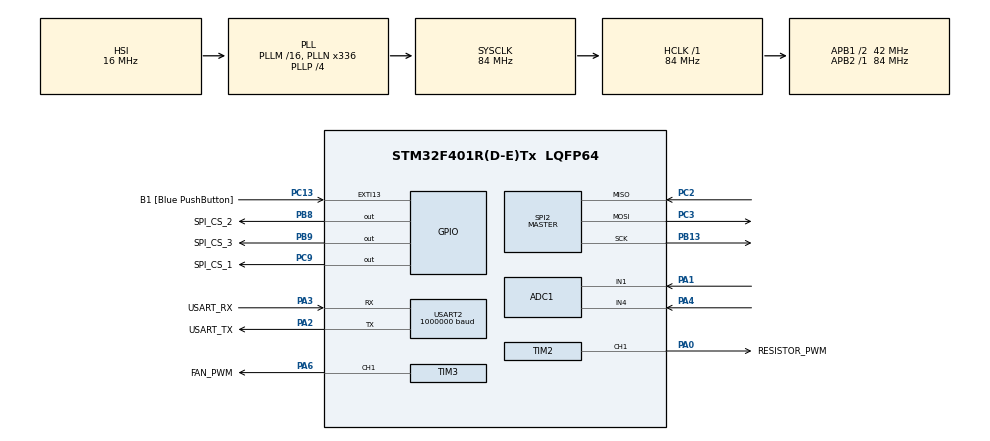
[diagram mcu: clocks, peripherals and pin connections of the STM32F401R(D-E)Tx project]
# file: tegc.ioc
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ADC1.Channel-1\#ChannelRegularConversion=ADC_CHANNEL_1
ADC1.Channel-3\#ChannelRegularConversion=ADC_CHANNEL_4
ADC1.ClockPrescaler=ADC_CLOCK_SYNC_PCLK_DIV4
ADC1.NbrOfConversion=2
ADC1.NbrOfConversionFlag=1
ADC1.Rank-3\#ChannelRegularConversion=2
ADC1.SamplingTime-1\#ChannelRegularConversion=ADC_SAMPLETIME_480CYCLES
ADC1.SamplingTime-3\#ChannelRegularConversion=ADC_SAMPLETIME_480CYCLES
ADC1.master=1
Dma.ADC1.1.Direction=DMA_PERIPH_TO_MEMORY
Dma.ADC1.1.FIFOMode=DMA_FIFOMODE_DISABLE
Dma.ADC1.1.Instance=DMA2_Stream0
Dma.ADC1.1.MemDataAlignment=DMA_MDATAALIGN_WORD
Dma.ADC1.1.MemInc=DMA_MINC_ENABLE
Dma.ADC1.1.Mode=DMA_NORMAL
Dma.ADC1.1.PeriphDataAlignment=DMA_PDATAALIGN_WORD
Dma.ADC1.1.PeriphInc=DMA_PINC_DISABLE
Dma.ADC1.1.Priority=DMA_PRIORITY_LOW
Dma.Request0=USART2_RX
Dma.Request1=ADC1
Dma.USART2_RX.0.Direction=DMA_PERIPH_TO_MEMORY
Dma.USART2_RX.0.FIFOMode=DMA_FIFOMODE_DISABLE
Dma.USART2_RX.0.Instance=DMA1_Stream5
Dma.USART2_RX.0.MemDataAlignment=DMA_MDATAALIGN_BYTE
Dma.USART2_RX.0.MemInc=DMA_MINC_ENABLE
Dma.USART2_RX.0.Mode=DMA_NORMAL
Dma.USART2_RX.0.PeriphDataAlignment=DMA_PDATAALIGN_BYTE
Dma.USART2_RX.0.PeriphInc=DMA_PINC_DISABLE
Dma.USART2_RX.0.Priority=DMA_PRIORITY_LOW
Mcu.Family=STM32F4
Mcu.Name=STM32F401R(D-E)Tx
Mcu.Package=LQFP64
NVIC.ADC_IRQn=true\:0\:0\:false\:false\:true\:true\:true\:true
NVIC.DMA1_Stream5_IRQn=true\:0\:0\:false\:true\:true\:3\:false\:true\:true
NVIC.DMA2_Stream0_IRQn=true\:0\:0\:false\:false\:true\:false\:true\:true
NVIC.PriorityGroup=NVIC_PRIORITYGROUP_0
NVIC.TIM1_UP_TIM10_IRQn=true\:0\:0\:false\:false\:true\:false\:true\:true
NVIC.TIM3_IRQn=true\:0\:0\:false\:true\:true\:1\:true\:true\:true
NVIC.TimeBase=TIM1_UP_TIM10_IRQn
NVIC.TimeBaseIP=TIM1
NVIC.USART2_IRQn=true\:0\:0\:false\:true\:true\:2\:true\:true\:true
PA0-WKUP.GPIO_Label=RESISTOR_PWM
PA0-WKUP.Signal=S_TIM2_CH1_ETR
PA1.GPIO_Mode=GPIO_MODE_ANALOG
PA1.GPIO_PuPd=GPIO_NOPULL
PA1.Signal=ADCx_IN1
PA13.GPIO_Label=TMS
PA13.Mode=Serial_Wire
PA13.Signal=SYS_JTMS-SWDIO
PA14.GPIO_Label=TCK
PA14.Mode=Serial_Wire
PA14.Signal=SYS_JTCK-SWCLK
PA2.GPIO_Label=USART_TX
PA2.GPIO_Mode=GPIO_MODE_AF_PP
PA2.GPIO_PuPd=GPIO_NOPULL
PA2.GPIO_Speed=GPIO_SPEED_FREQ_LOW
PA2.Mode=Asynchronous
PA2.Signal=USART2_TX
PA3.GPIO_Label=USART_RX
PA3.GPIO_Mode=GPIO_MODE_AF_PP
PA3.GPIO_PuPd=GPIO_NOPULL
PA3.GPIO_Speed=GPIO_SPEED_FREQ_LOW
PA3.Mode=Asynchronous
PA3.Signal=USART2_RX
PA4.Signal=ADCx_IN4
PA6.GPIO_Label=FAN_PWM
PA6.Signal=S_TIM3_CH1
PB13.Mode=Full_Duplex_Master
PB13.Signal=SPI2_SCK
PB3.GPIO_Label=SWO
PB3.Signal=SYS_JTDO-SWO
PB8.GPIO_Label=SPI_CS_2
PB8.Signal=GPIO_Output
PB9.GPIO_Label=SPI_CS_3
PB9.Signal=GPIO_Output
PC13-ANTI_TAMP.GPIO_Label=B1 [Blue PushButton]
PC13-ANTI_TAMP.GPIO_ModeDefaultEXTI=GPIO_MODE_IT_FALLING
PC13-ANTI_TAMP.GPIO_PuPd=GPIO_NOPULL
PC13-ANTI_TAMP.Signal=GPXTI13
PC14-OSC32_IN.Mode=LSE-External-Oscillator
PC14-OSC32_IN.Signal=RCC_OSC32_IN
PC15-OSC32_OUT.Mode=LSE-External-Oscillator
PC15-OSC32_OUT.Signal=RCC_OSC32_OUT
PC2.Mode=Full_Duplex_Master
PC2.Signal=SPI2_MISO
PC3.Mode=Full_Duplex_Master
PC3.Signal=SPI2_MOSI
PC9.GPIO_Label=SPI_CS_1
PC9.Signal=GPIO_Output
PH0\ -\ OSC_IN.Mode=HSE-External-Clock-Source
PH0\ -\ OSC_IN.Signal=RCC_OSC_IN
PH1\ -\ OSC_OUT.Mode=HSE-External-Clock-Source
PH1\ -\ OSC_OUT.Signal=RCC_OSC_OUT
ProjectManager.HeapSize=0x200
ProjectManager.StackSize=0x400
ProjectManager.TargetToolchain=Makefile
RCC.48MHZClocksFreq_Value=48000000
RCC.AHBFreq_Value=84000000
RCC.APB1CLKDivider=RCC_HCLK_DIV2
RCC.APB1Freq_Value=42000000
RCC.APB1TimFreq_Value=84000000
RCC.APB2Freq_Value=84000000
RCC.APB2TimFreq_Value=84000000
RCC.CortexFreq_Value=84000000
RCC.HCLKFreq_Value=84000000
RCC.HSE_VALUE=8000000
RCC.HSI_VALUE=16000000
RCC.PLLN=336
RCC.PLLP=RCC_PLLP_DIV4
RCC.PLLQ=7
RCC.SYSCLKFreq_VALUE=84000000
RCC.SYSCLKSource=RCC_SYSCLKSOURCE_PLLCLK
RCC.VCOOutputFreq_Value=336000000
SH.ADCx_IN1.0=ADC1_IN1,IN1
SH.ADCx_IN4.0=ADC1_IN4,IN4
SH.S_TIM2_CH1_ETR.0=TIM2_CH1,PWM Generation1 CH1
SH.S_TIM3_CH1.0=TIM3_CH1,PWM Generation1 CH1
SPI2.BaudRatePrescaler=SPI_BAUDRATEPRESCALER_128
SPI2.CLKPhase=SPI_PHASE_2EDGE
SPI2.CLKPolarity=SPI_POLARITY_LOW
SPI2.DataSize=SPI_DATASIZE_8BIT
SPI2.Direction=SPI_DIRECTION_2LINES
SPI2.Mode=SPI_MODE_MASTER
SPI2.VirtualType=VM_MASTER
TIM2.Channel-PWM\ Generation1\ CH1=TIM_CHANNEL_1
TIM2.Period=8400000
TIM3.Channel-PWM\ Generation1\ CH1=TIM_CHANNEL_1
TIM3.Period=98
TIM3.Prescaler=34
USART2.BaudRate=1000000
USART2.VirtualMode=VM_ASYNC
VP_SYS_VS_tim1.Mode=TIM1
VP_TIM2_VS_ClockSourceINT.Mode=Internal
VP_TIM3_VS_ClockSourceINT.Mode=Internal
board=NUCLEO-F401RE

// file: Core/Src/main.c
/* USER CODE BEGIN Header */
/**
 ******************************************************************************
 * @file           : main.c
 * @brief          : Main program body
 ******************************************************************************
 * @attention
 *
 * Copyright (c) 2024 STMicroelectronics.
 * All rights reserved.
 *
 * This software is licensed under terms that can be found in the LICENSE file
 * in the root directory of this software component.
 * If no LICENSE file comes with this software, it is provided AS-IS.
 *
 ******************************************************************************
 */
/* USER CODE END Header */
#include "main.h"
#include "adc.h"
#include "dma.h"
#include "spi.h"
#include "tim.h"
#include "usart.h"
#include "gpio.h"

/* USER CODE BEGIN Includes */

#include <inttypes.h>
#include <stdbool.h>
#include <stdio.h>
#include <string.h>

#include "pwm.h"
#include "tegc_config.h"
#include "temperature_controller.h"

/* USER CODE END Includes */

/* USER CODE BEGIN PV */

const char error_msg[] = "I am in error handler\r\n";

/***
 * Current temperatures of both TEG sides
 */
float temp_hot_side;
float temp_cold_side;

/***
 * Temperature controllers for the 2 sides of the TEG,
 * the hot side with the heating resistor,
 * the cold side using the fan
 */
temperature_controller_t tc_hot_side;
temperature_controller_t tc_cold_side;

/***
 * IMPORTANT!!! MAKE SURE TO SELECT THE APPROPRIATE VALUE IN THE MICROCURRENT MODULE.
 */
#define U_CURRENT_CONVERSION (1e-3 / 1e-6)  // 1mV / 1uA

/***
 * The buffer size is 2 because one value is for the open circuit voltage
 * and the other one for the current measurement
 */
#define TEG_ADC_DMA_BUFFER_SIZE (2)
bool teg_adc_dma_complete = false;
uint32_t teg_adc_value[TEG_ADC_DMA_BUFFER_SIZE] = {0};
float teg_adc_voltage[TEG_ADC_DMA_BUFFER_SIZE] = {0};
float teg_open_circuit_voltage = 0.0f;
float teg_load_current = 0.0f;

/***
 * Coefficient for the weighted average, used to filter out spikes during ADC acquisitions.
 * The value should be between 0 and 1, the closer to 0 the more filtering is applied.
 * a value of 0.1 is equivalent fo doing a moving average of 10 samples. 0.001 is of 1000 samples.
 */
float teg_filter_coefficient = 0.001;

/* USER CODE END PV */

void SystemClock_Config(void);
static void MX_NVIC_Init(void);

/* USER CODE BEGIN 0 */

char uart_rx_buf[BUFSIZ] = {0};
char uart_line_buf[BUFSIZ] = {0};
uint32_t uart_rx_index = 0;
bool uart_line_received = false;
bool firstCsvLine = true;

bool cmd_compare(const char *cmd, const char *line) {
  return strncmp(cmd, line, strlen(cmd)) == 0;
}

/** Parse and processes UART commands */
void parse_uart_line(const char *line) {
  // sets the Hot Side surface temperature setpoint.
  // The PID controller will try to keep the temperature at this value
  if (cmd_compare(">setpoint", line)) {
    float setpoint;
    sscanf(line, ">setpoint %f", &setpoint);
    tc_set_temperature(&tc_hot_side, setpoint);
    return;
  }
  // Changes PID proportional constant to the received value.
  if (cmd_compare(">pid kp", line)) {
    sscanf(line, ">pid kp %f", &tc_hot_side.pid_controller.kp);
    return;
  }
  // Changes PID integral constant to the received value.
  if (cmd_compare(">pid ki", line)) {
    sscanf(line, ">pid ki %f", &tc_hot_side.pid_controller.ki);
    return;
  }
  // Changes PID derivative constant to the received value.
  if (cmd_compare(">pid kd", line)) {
    sscanf(line, ">pid kd %f", &tc_hot_side.pid_controller.kd);
    return;
  }
  // Changes PID constants to the received values.
  if (cmd_compare(">pid", line)) {
    sscanf(line, ">pid %f %f %f", &tc_hot_side.pid_controller.kp,
           &tc_hot_side.pid_controller.ki, &tc_hot_side.pid_controller.kd);
    return;
  }
  // Changes the duty cycle of the hot side heating element
  if (cmd_compare(">duty", line)) {
    float duty;
    sscanf(line, ">duty %f", &duty);
    tc_hot_side.commaded_duty_cycle = duty;
    return;
  }
  // Clears the terminal (prints 50 new lines)
  if (cmd_compare("clear", line)) {
    for (int i = 0; i < 50; i++) {
      print("\r\n");
    }
    return;
  }
  // Resets the microcontroller
  if (cmd_compare("reset", line)) {
    HAL_NVIC_SystemReset();
    return;
  }
  // Resend the CSV header
  if (cmd_compare("csv_header", line)) {
    firstCsvLine = true;
    return;
  }
  // Prints the current PID constants
  if (cmd_compare("pid", line)) {
    print("kp: %f, ki: %f, kd: %f\r\n", tc_hot_side.pid_controller.kp,
          tc_hot_side.pid_controller.ki, tc_hot_side.pid_controller.kd);
    return;
  }
  // Prints the current setpoint
  if (cmd_compare("setpoint", line)) {
    print("setpoint: %f\r\n", tc_hot_side.pid_controller.set_point);
    return;
  }

  // If the command is not recognized, print the help message
  print(
      "Unknown command: \"%s\"\r\n"
      ">temp <cold_side> <hot_side>\r\n"
      ">pid <kp> <ki> <kd>\r\n"
      ">duty <duty cycle>\r\n"
      "clear\r\n"
      "pid\r\n"
      "setpoint\r\n",
      line);
}

/***
 * This macro technique is called X-Macros (https://en.wikipedia.org/wiki/X_macro)
 * Basically it allows to define a list elements, each element is a call to a macro
 * yet to define. The trick is to define a macro (CSV_ROW) different each time, so that
 * in different parts of the code, the same list of elements can be used to generate
 * different code.
 *
 * In this case, CSV_ROW has 3 arguments, the name of the column, the format specifier
 * and the value to be printed.
 */
#define CSV_COLUMNS()                                                       \
  CSV_ROW("time", "%" PRIu32, HAL_GetTick())                                \
  CSV_ROW("temp_hot_side", "%f", temp_hot_side)                             \
  CSV_ROW("temp_cold_side", "%f", temp_cold_side)                           \
  CSV_ROW("temp_delta", "%f", temp_hot_side - temp_cold_side)               \
  CSV_ROW("hot_side_set_point", "%f", tc_hot_side.pid_controller.set_point) \
  CSV_ROW("hot_side_pid_error", "%f", tc_hot_side.pid_controller.error)     \
  CSV_ROW("hot_side_duty_cycle", "%f", tc_hot_side.commaded_duty_cycle)     \
  CSV_ROW("teg_oc_voltage", "%f", teg_open_circuit_voltage)                 \
  CSV_ROW("teg_current", "%0.9f", teg_load_current)

void write_csv() {
  if (firstCsvLine) {

    firstCsvLine = false;
    print("csv_header:");
    // Define CSV_ROW such that it prints the name
#define CSV_ROW(name, format, value) print(name ",");
    // Call CSV_COLUMNS to expand the list of CSV_ROW calls
    CSV_COLUMNS();
    // Undefine CSV_ROW to avoid conflicts with other uses of the macro
#undef CSV_ROW
    print("\r\n");

  } else {

    print("csv_data:");
    // Define CSV_ROW such that it prints the value
#define CSV_ROW(name, format, value) print(format ",", value);
    // Call CSV_COLUMNS to expand the list of CSV_ROW calls
    CSV_COLUMNS();
    // Undefine CSV_ROW to avoid conflicts with other uses of the macro
#undef CSV_ROW
    print("\r\n");

  }
}

/* USER CODE END 0 */

int main(void)
{

  /* MCU Configuration--------------------------------------------------------*/

  /* Reset of all peripherals, Initializes the Flash interface and the Systick. */
  HAL_Init();

  /* Configure the system clock */
  SystemClock_Config();

  /* Initialize all configured peripherals */
  MX_GPIO_Init();
  MX_DMA_Init();
  MX_USART2_UART_Init();
  MX_ADC1_Init();
  MX_SPI2_Init();
  MX_TIM2_Init();
  MX_TIM3_Init();

  /* Initialize interrupts */
  MX_NVIC_Init();
  /* USER CODE BEGIN 2 */

  // Timer used to sample MAX6675 temperatures at specified frequency
  HAL_TIM_Base_Start_IT(&htim3);
  HAL_TIM_PWM_Start(&htim2, TIM_CHANNEL_1);
  HAL_TIM_PWM_Start(&htim3, TIM_CHANNEL_1);

  // Start listening for commands via UART
  setup_uart_dma();
  // Start adc acquisitions
  setup_adc_dma();

  /***
   * Initialization of the temperature controllers
   * The hot side controller has inverted duty cycle
   * due to the current control circuit, see schematics for more info
   */
  tc_init(&tc_hot_side, &htim2, TIM_CHANNEL_1, true);
  tc_init(&tc_cold_side, &htim3, TIM_CHANNEL_1, false);

  /* USER CODE END 2 */

  /* Infinite loop */
  /* USER CODE BEGIN WHILE */
  int t = 0;
  int pid_t = 0;
  int adc_t = 0;
  write_csv();
  while (1) {

    // Every 100ms send in UART the CSV line
    if (HAL_GetTick() - t >= 100) {
      t = HAL_GetTick();
      write_csv();
    }
    // If DMA compleated and at least at 1kHz, start another conversion
    if (teg_adc_dma_complete && HAL_GetTick() - adc_t >= 1) {
      // the adc has completed the previous conversion and can start another one
      setup_adc_dma();
      adc_t = HAL_GetTick();
    }

    // Every 400ms update the PID controller
    if (HAL_GetTick() - pid_t >= 400) {
      pid_t = HAL_GetTick();
      tc_update(&tc_hot_side, temp_hot_side);
      if (tc_hot_side.pid_controller.integrator < 0) {
        tc_hot_side.pid_controller.integrator = 0;
      }

      // This controls the fan speed
      set_pwm_duty_cycle(&htim3, TIM_CHANNEL_1, 0.5);
    }

    // If a line is received via UART, parse it
    if (uart_line_received) {
      uart_line_received = false;
      parse_uart_line(uart_line_buf);
    }

    /* USER CODE END WHILE */

  }
}

void SystemClock_Config(void)
{
  RCC_OscInitTypeDef RCC_OscInitStruct = {0};
  RCC_ClkInitTypeDef RCC_ClkInitStruct = {0};

  /** Configure the main internal regulator output voltage
  */
  __HAL_RCC_PWR_CLK_ENABLE();
  __HAL_PWR_VOLTAGESCALING_CONFIG(PWR_REGULATOR_VOLTAGE_SCALE2);

  /** Initializes the RCC Oscillators according to the specified parameters
  * in the RCC_OscInitTypeDef structure.
  */
  RCC_OscInitStruct.OscillatorType = RCC_OSCILLATORTYPE_HSI;
  RCC_OscInitStruct.HSIState = RCC_HSI_ON;
  RCC_OscInitStruct.HSICalibrationValue = RCC_HSICALIBRATION_DEFAULT;
  RCC_OscInitStruct.PLL.PLLState = RCC_PLL_ON;
  RCC_OscInitStruct.PLL.PLLSource = RCC_PLLSOURCE_HSI;
  RCC_OscInitStruct.PLL.PLLM = 16;
  RCC_OscInitStruct.PLL.PLLN = 336;
  RCC_OscInitStruct.PLL.PLLP = RCC_PLLP_DIV4;
  RCC_OscInitStruct.PLL.PLLQ = 7;
  if (HAL_RCC_OscConfig(&RCC_OscInitStruct) != HAL_OK)
  {
    Error_Handler();
  }

  /** Initializes the CPU, AHB and APB buses clocks
  */
  RCC_ClkInitStruct.ClockType = RCC_CLOCKTYPE_HCLK|RCC_CLOCKTYPE_SYSCLK
                              |RCC_CLOCKTYPE_PCLK1|RCC_CLOCKTYPE_PCLK2;
  RCC_ClkInitStruct.SYSCLKSource = RCC_SYSCLKSOURCE_PLLCLK;
  RCC_ClkInitStruct.AHBCLKDivider = RCC_SYSCLK_DIV1;
  RCC_ClkInitStruct.APB1CLKDivider = RCC_HCLK_DIV2;
  RCC_ClkInitStruct.APB2CLKDivider = RCC_HCLK_DIV1;

  if (HAL_RCC_ClockConfig(&RCC_ClkInitStruct, FLASH_LATENCY_2) != HAL_OK)
  {
    Error_Handler();
  }
}

/**
  * @brief NVIC Configuration.
  * @retval None
  */
static void MX_NVIC_Init(void)
{
  /* TIM3_IRQn interrupt configuration */
  HAL_NVIC_SetPriority(TIM3_IRQn, 0, 0);
  HAL_NVIC_EnableIRQ(TIM3_IRQn);
  /* USART2_IRQn interrupt configuration */
  HAL_NVIC_SetPriority(USART2_IRQn, 0, 0);
  HAL_NVIC_EnableIRQ(USART2_IRQn);
  /* DMA1_Stream5_IRQn interrupt configuration */
  HAL_NVIC_SetPriority(DMA1_Stream5_IRQn, 0, 0);
  HAL_NVIC_EnableIRQ(DMA1_Stream5_IRQn);
}

/* USER CODE BEGIN 4 */

void setup_uart_dma() {
  if (uart_rx_index >= BUFSIZ) {
    uart_rx_index = 0;
  }
  // DMA is configured to receive one character at the time, that is then copied to the line buffer
  if (HAL_UART_Receive_DMA(&huart2, (uint8_t *)(&uart_rx_buf[uart_rx_index]),
                           1) != HAL_OK) {
    Error_Handler();
  }
  uart_rx_index++;
}

void HAL_UART_RxCpltCallback(UART_HandleTypeDef *huart) {
#define DELIMITER_LEN (2)
  const char *delimeters = "\r\n";
  if (huart->Instance == USART2) {
    for (int i = 0; i < DELIMITER_LEN; i++) {
      /***
       * if a line termination character is identified,
       * save the current line to be processed and start a new line
       */
      if (uart_rx_buf[uart_rx_index - 1] == delimeters[i]) {
        memset(uart_line_buf, 0, sizeof(uart_line_buf));
        uart_line_received = true;
        uart_rx_buf[uart_rx_index - 1] = '\0';
        memcpy(uart_line_buf, uart_rx_buf, uart_rx_index - 1);
        uart_rx_index = 0;
        break;
      }
    }
    // continue to monitor the UART
    setup_uart_dma();
  }
}

void setup_adc_dma() {
  // start the ADC conversion via DMA
  if (HAL_ADC_Start_DMA(&hadc1, teg_adc_value, TEG_ADC_DMA_BUFFER_SIZE) !=
      HAL_OK) {
    Error_Handler();
  }
}
void HAL_ADC_ConvCpltCallback(ADC_HandleTypeDef *hadc) {
  if (hadc->Instance == ADC1) {
    teg_adc_dma_complete = true;

    // For each value in the buffer, convert from bits to voltage (assuming 3V3 reference)
    // Apply moving average filter to the values
    for (size_t i = 0; i < TEG_ADC_DMA_BUFFER_SIZE; i++) {
      float sampled_voltage = teg_adc_value[i] * 3.3f / 4096.0f;
      teg_adc_voltage[i] = teg_adc_voltage[i] * (1 - teg_filter_coefficient) +
                           teg_filter_coefficient * sampled_voltage;
    }
    // The first value is the open circuit voltage, the second is the current
    teg_open_circuit_voltage = teg_adc_voltage[0];
    teg_load_current = teg_adc_voltage[1] / U_CURRENT_CONVERSION;
  }
}

/* USER CODE END 4 */

void HAL_TIM_PeriodElapsedCallback(TIM_HandleTypeDef *htim)
{
  if (htim->Instance == TIM1)
  {
    HAL_IncTick();
  }
  /* USER CODE BEGIN Callback 1 */

  /***
   * A timer is used to reading
   * the max6675 temperatures at a desired frequency.
   * max6675 has a maximum allowed frequency, so make sure
   * to not exceed it.
   */
  static int sampleTimer = 0;
  static uint8_t sampleIndex = 0;
  if (htim->Instance == TIM3) {
    if (HAL_GetTick() - sampleTimer >= 100) {
      sampleTimer = HAL_GetTick();
      sampleIndex++;

      if (sampleIndex % 3 == 0){
        temp_hot_side =
            temp_hot_side * 0.5 +
            0.5 * max6675_read_temp(SPI_CS_1_GPIO_Port, SPI_CS_1_Pin);
      }
      if (sampleIndex % 3 == 1) {
        temp_cold_side = max6675_read_temp(SPI_CS_2_GPIO_Port, SPI_CS_2_Pin);
      }
    }
  }
  /* USER CODE END Callback 1 */
}

void Error_Handler(void)
{
  /* USER CODE BEGIN Error_Handler_Debug */
  /* User can add his own implementation to report the HAL error return state */

  // __disable_irq(); // WARNING: irq is not disabled so HAL_Delay() works correctly
  char msg_buf[BUFSIZ] = {0};
  while (1) {
    snprintf((char *)msg_buf, sizeof(msg_buf), "Error_Handler: %" PRIu32 "\r\n",
             huart2.hdmarx->ErrorCode);
    HAL_UART_Transmit(&huart2, (uint8_t *)msg_buf, sizeof(msg_buf), 100);
    HAL_UART_Transmit(&huart2, (uint8_t *)error_msg, sizeof(error_msg), 100);

    HAL_Delay(100);
  }
  /* USER CODE END Error_Handler_Debug */
}
#ifdef USE_FULL_ASSERT
/**
  * @brief  Reports the name of the source file and the source line number
  *         where the assert_param error has occurred.
  * @param  file: pointer to the source file name
  * @param  line: assert_param error line source number
  * @retval None
  */
void assert_failed(uint8_t *file, uint32_t line)
{
  /* USER CODE BEGIN 6 */
  /* User can add his own implementation to report the file name and line
   number, ex: printf("Wrong parameters value: file %s on line %d\r\n", file,
   line) */
  /* USER CODE END 6 */
}
#endif /* USE_FULL_ASSERT */
